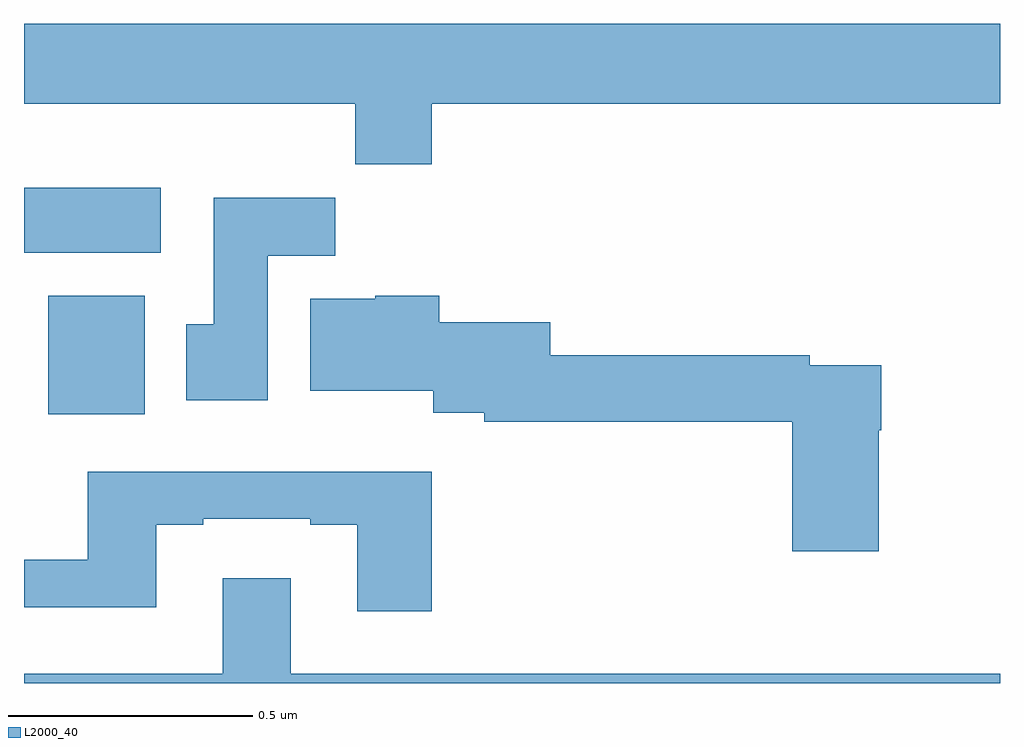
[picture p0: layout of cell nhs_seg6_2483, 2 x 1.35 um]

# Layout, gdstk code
import gdstk
lib = gdstk.Library(unit=1e-6, precision=1e-09)
def R(c, l, rs):  # rectangles x0, y0, x1, y1
    for r in rs: c.add(gdstk.rectangle(r[:2], r[2:], *l))
def P(c, l, *ps):  # polygons
    for p in ps: c.add(gdstk.Polygon(p, *l))
L2000_40 = (2000, 40)

nhs_seg6_2483 = lib.new_cell('nhs_seg6_2483')
R(nhs_seg6_2483, L2000_40, [(144.05,928.052,144.247,928.294), (144,928.382,144.28,928.516)])
P(nhs_seg6_2483, L2000_40, [(144.836,928.688),(146,928.688),(146,928.852),(144,928.852),(144,928.688),(144.679,928.688),(144.679,928.564),(144.836,928.564)],
  [(144.499,928.376),(144.638,928.376),(144.638,928.495),(144.389,928.495),(144.389,928.236),(144.332,928.236),(144.332,928.08),(144.499,928.08)],
  [(145.752,928.019),(145.757,928.019),(145.757,928.152),(145.61,928.152),(145.61,928.172),(145.078,928.172),(145.078,928.24),(144.851,928.24),(144.851,928.294),(144.72,928.294),(144.72,928.288),(144.587,928.288),(144.587,928.1),(144.839,928.1),(144.839,928.055),(144.943,928.055),(144.943,928.036),(145.574,928.036),(145.574,927.771),(145.752,927.771)],
  [(144.836,927.934),(144.131,927.934),(144.131,927.753),(144,927.753),(144,927.656),(144.271,927.656),(144.271,927.825),(144.367,927.825),(144.367,927.837),(144.587,927.837),(144.587,927.825),(144.683,927.825),(144.683,927.648),(144.836,927.648)],
  [(146,927.52),(144.547,927.52),(144.547,927.715),(144.407,927.715),(144.407,927.52),(144,927.52),(144,927.5),(146,927.5)])

lib.write_gds('nhs_seg6_2483.gds')
